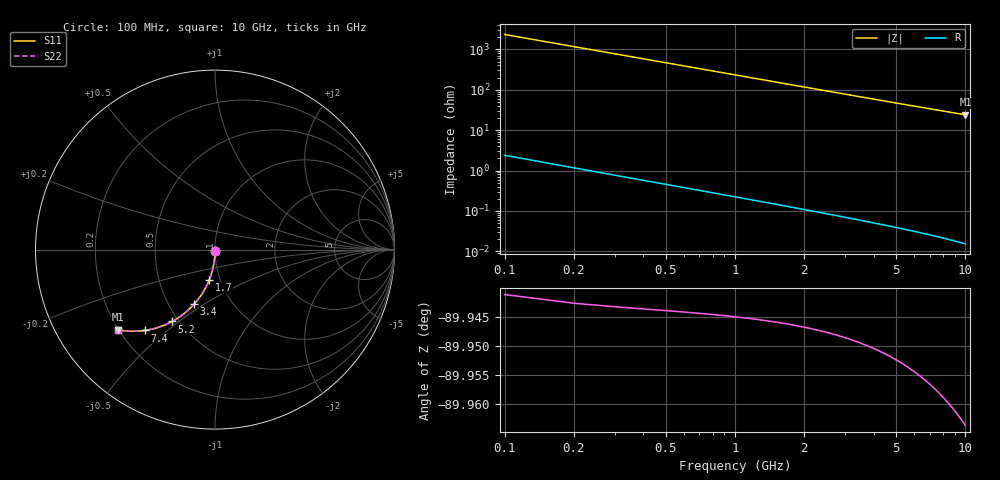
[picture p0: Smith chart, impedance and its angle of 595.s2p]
# Hz S RI R 50.00
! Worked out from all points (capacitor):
!   100 points, 100 MHz to 10 GHz, reference 50 ohm
!   read as one part in shunt: C = 682 fF near 100 MHz
!   lowest |Z| = 24.1 ohm at 10 GHz (marker M1)
!   S11 on the Smith chart (normalised r, x): 100 MHz: 1.00, -0.02; 1.7 GHz: 0.89, -0.31; 3.4 GHz: 0.67, -0.45; 5.2 GHz: 0.46, -0.47; 7.4 GHz: 0.30, -0.42; 10 GHz: 0.20, -0.35
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1e8  0.000236 -0.0102  0.9995 -0.0112  0.9995 -0.0112  0.000236 -0.0102
2e8  -0.000115 -0.0204  0.9992 -0.0224  0.9992 -0.0224  -0.000115 -0.0204
3e8  -0.000696 -0.0306  0.9986 -0.0336  0.9986 -0.0336  -0.000696 -0.0306
4e8  -0.00151 -0.0408  0.9978 -0.0448  0.9978 -0.0448  -0.00151 -0.0408
5e8  -0.00254 -0.0509  0.9967 -0.0559  0.9967 -0.0559  -0.00254 -0.0509
6e8  -0.0038 -0.061  0.9954 -0.067  0.9954 -0.067  -0.0038 -0.061
8e8  -0.00699 -0.0811  0.9922 -0.0891  0.9922 -0.0891  -0.00699 -0.0811
1.1e9  -0.0134 -0.1108  0.9858 -0.1218  0.9858 -0.1218  -0.0134 -0.1108
1.4e9  -0.0218 -0.1398  0.9774 -0.1538  0.9774 -0.1538  -0.0218 -0.1398
1.7e9  -0.0319 -0.1679  0.9672 -0.1849  0.9672 -0.1849  -0.0319 -0.1679
1.8e9  -0.0357 -0.177  0.9634 -0.1951  0.9634 -0.1951  -0.0357 -0.177
2.1e9  -0.048 -0.2038  0.951 -0.2249  0.951 -0.2249  -0.048 -0.2038
2.5e9  -0.0669 -0.2377  0.9321 -0.2627  0.9321 -0.2627  -0.0669 -0.2377
2.9e9  -0.0881 -0.2692  0.9107 -0.2983  0.9107 -0.2983  -0.0881 -0.2692
3.4e9  -0.1174 -0.3051  0.8812 -0.3392  0.8812 -0.3392  -0.1174 -0.3051
4.2e9  -0.1691 -0.354  0.8292 -0.3962  0.8292 -0.3962  -0.1691 -0.354
5.1e9  -0.2314 -0.3962  0.7664 -0.4476  0.7664 -0.4476  -0.2314 -0.3962
5.2e9  -0.2385 -0.4001  0.7593 -0.4525  0.7593 -0.4525  -0.2385 -0.4001
6.7e9  -0.3435 -0.441  0.6534 -0.5087  0.6534 -0.5087  -0.3435 -0.441
7.4e9  -0.3904 -0.4502  0.6059 -0.5252  0.6059 -0.5252  -0.3904 -0.4502
8.4e9  -0.4534 -0.4548  0.5421 -0.5401  0.5421 -0.5401  -0.4534 -0.4548
1e10  -0.5426 -0.4462  0.4513 -0.5484  0.4513 -0.5484  -0.5426 -0.4462
